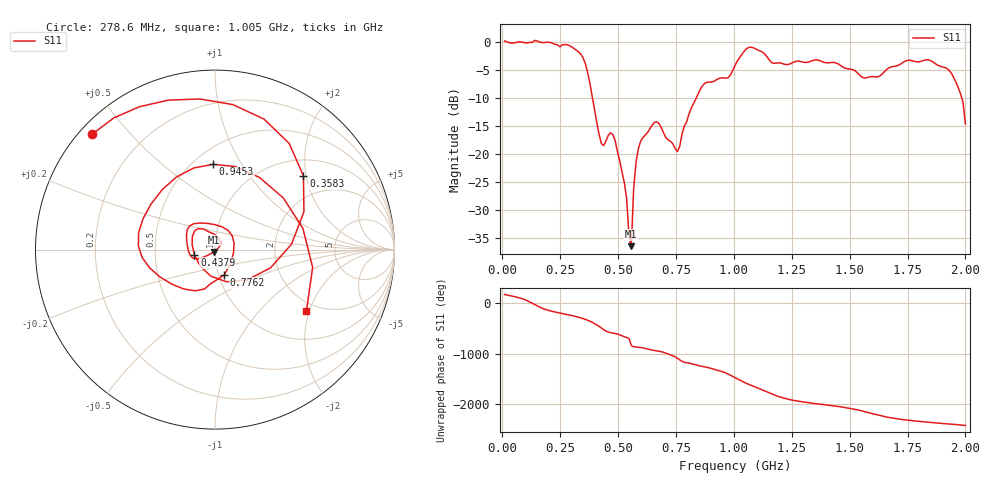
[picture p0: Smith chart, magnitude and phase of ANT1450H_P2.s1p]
!Created with skrf (http://scikit-rf.org).
# Hz S RI R 50.0
!freq ReS11 ImS11
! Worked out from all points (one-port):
!   201 points, 10 MHz to 2 GHz, reference 50 ohm
!   lowest |S11| = -36.4 dB at 557.2 MHz (marker M1), VSWR 1.03, Z = 49.3 - j1.3 ohm
!   |S11| at or under -10 dB: 389.2 MHz to 838.2 MHz (449 MHz wide, 73.2 % of centre); 1.984 GHz to end of sweep
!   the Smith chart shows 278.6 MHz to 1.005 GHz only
!   S11 on the Smith chart (normalised r, x): 278.6 MHz: 0.04, +0.40; 358.2 MHz: 1.38, +1.93; 437.9 MHz: 0.79, -0.05; 776.1 MHz: 1.06, -0.31; 945.3 MHz: 0.62, +0.76; 1.005 GHz: 1.75, -1.91
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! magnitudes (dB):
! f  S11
! 10 MHz  0.1
! 258.8 MHz  -0.6
! 278.6 MHz  -0.5
! 358.2 MHz  -3.9
! 417.9 MHz  -16.5
! 437.9 MHz  -18.5
! 477.6 MHz  -16.6
! 507.5 MHz  -21.3
! 537.4 MHz  -28.1
! 547.3 MHz  -34.7
! 557.2 MHz  -36.4
! 567.2 MHz  -26.2
! 577.1 MHz  -21.7
! 597 MHz  -17.8
! 666.7 MHz  -14.3
! 756.2 MHz  -19.6
! 776.1 MHz  -16.4
! 865.7 MHz  -7.8
! 945.3 MHz  -6.5
! 1.005 GHz  -4.2
! 1.075 GHz  -1.0
! 1.254 GHz  -3.7
! 1.502 GHz  -4.9
! 1.622 GHz  -6.3
! 1.751 GHz  -3.3
! 1.93 GHz  -5.1
! 1.98 GHz  -9.4
! 2 GHz  -14.7
